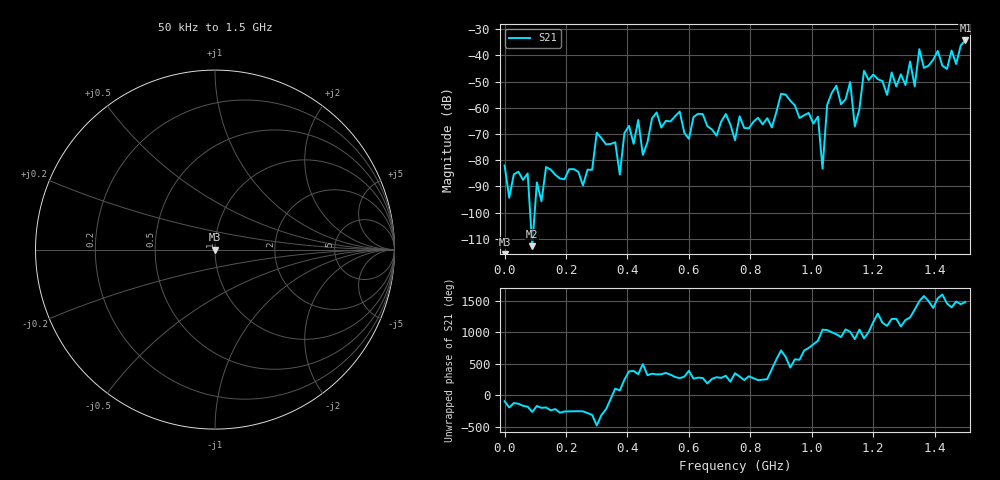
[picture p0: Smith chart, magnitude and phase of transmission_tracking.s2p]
! Created with skrf 1.8.0 (http://scikit-rf.org).
# Hz S RI R 50.0
!freq ReS11 ImS11 ReS21 ImS21 ReS12 ImS12 ReS22 ImS22
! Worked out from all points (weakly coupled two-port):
!   101 points, 50 kHz to 1.5 GHz, reference 50 ohm
!   highest |S21| = -34.29 dB at 1.5 GHz (marker M1); lowest = -112.8 dB at 90.05 MHz (marker M2)
!   lowest |S11| = - dB at 50 kHz (marker M3), VSWR 1.00, Z = 50 + j0 ohm
!   |S11| at or under -10 dB: start of sweep to end of sweep
!   S12 and S22 are empty: the file has one direction only
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50000  0 0  -7.96e-06 -7.88e-05  0 0  0 0
9.0047e7  0 0  -1.7e-07 2.28e-06  0 0  0 0
2.550415e8  0 0  -7.7e-06 3.21e-05  0 0  0 0
5.10033e8  0 0  0.00037 -0.000194  0 0  0 0
7.20026e8  0 0  0.000473 -0.000596  0 0  0 0
7.50025e8  0 0  0.000236 -4.7e-05  0 0  0 0
8.70021e8  0 0  0.00024 0.000346  0 0  0 0
9.0002e8  0 0  0.00182 -0.000345  0 0  0 0
1.005016e9  0 0  2.05e-05 0.000497  0 0  0 0
1.020016e9  0 0  -0.000548 0.000401  0 0  0 0
1.035016e9  0 0  5.22e-05 -4.48e-05  0 0  0 0
1.050015e9  0 0  0.00077 -0.000835  0 0  0 0
1.080014e9  0 0  -0.00104 -0.00243  0 0  0 0
1.125012e9  0 0  0.000769 -0.00301  0 0  0 0
1.140012e9  0 0  -0.000434 9.27e-05  0 0  0 0
1.170011e9  0 0  -0.00509 -0.000132  0 0  0 0
1.245008e9  0 0  0.00166 0.000584  0 0  0 0
1.260008e9  0 0  -0.00299 0.00367  0 0  0 0
1.335006e9  0 0  0.000356 -0.00255  0 0  0 0
1.350005e9  0 0  0.00832 0.0102  0 0  0 0
1.440002e9  0 0  0.00534 0.0014  0 0  0 0
1.5e9  0 0  0.0149 0.0123  0 0  0 0
